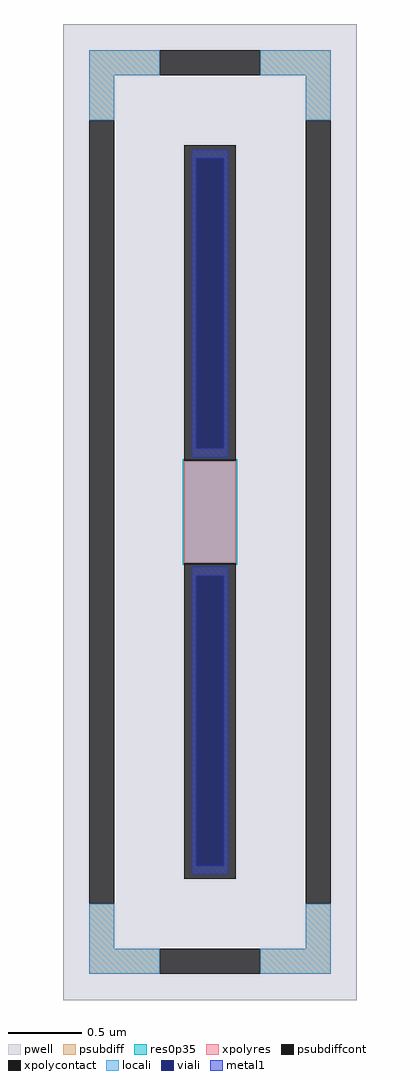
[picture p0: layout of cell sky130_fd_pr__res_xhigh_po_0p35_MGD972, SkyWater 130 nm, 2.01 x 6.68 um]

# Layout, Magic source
magic
tech sky130A
magscale 1 2
<< pwell >>
rect -201 -668 201 668
<< psubdiff >>
rect -165 598 -69 632
rect 69 598 165 632
rect -165 536 -131 598
rect 131 536 165 598
rect -165 -598 -131 -536
rect 131 -598 165 -536
rect -165 -632 -69 -598
rect 69 -632 165 -598
<< psubdiffcont >>
rect -69 598 69 632
rect -165 -536 -131 536
rect 131 -536 165 536
rect -69 -632 69 -598
<< xpolycontact >>
rect -35 70 35 502
rect -35 -502 35 -70
<< xpolyres >>
rect -35 -70 35 70
<< locali >>
rect -165 598 -69 632
rect 69 598 165 632
rect -165 536 -131 598
rect 131 536 165 598
rect -165 -598 -131 -536
rect 131 -598 165 -536
rect -165 -632 -69 -598
rect 69 -632 165 -598
<< viali >>
rect -19 87 19 484
rect -19 -484 19 -87
<< metal1 >>
rect -25 484 25 496
rect -25 87 -19 484
rect 19 87 25 484
rect -25 75 25 87
rect -25 -87 25 -75
rect -25 -484 -19 -87
rect 19 -484 25 -87
rect -25 -496 25 -484
<< res0p35 >>
rect -37 -72 37 72
<< properties >>
string FIXED_BBOX -148 -615 148 615
string gencell sky130_fd_pr__res_xhigh_po_0p35
string library sky130
string parameters w 0.350 l 0.7 m 1 nx 1 wmin 0.350 lmin 0.50 rho 2000 val 5.075k dummy 0 dw 0.0 term 188.2 sterm 0.0 caplen 0 wmax 0.350 guard 1 glc 1 grc 1 gtc 1 gbc 1 compatible {sky130_fd_pr__res_xhigh_po_0p35  sky130_fd_pr__res_xhigh_po_0p69 sky130_fd_pr__res_xhigh_po_1p41  sky130_fd_pr__res_xhigh_po_2p85 sky130_fd_pr__res_xhigh_po_5p73} snake 0 full_metal 1 n_guard 0 hv_guard 0 vias 1 viagb 0 viagt 0 viagl 0 viagr 0
<< end >>
